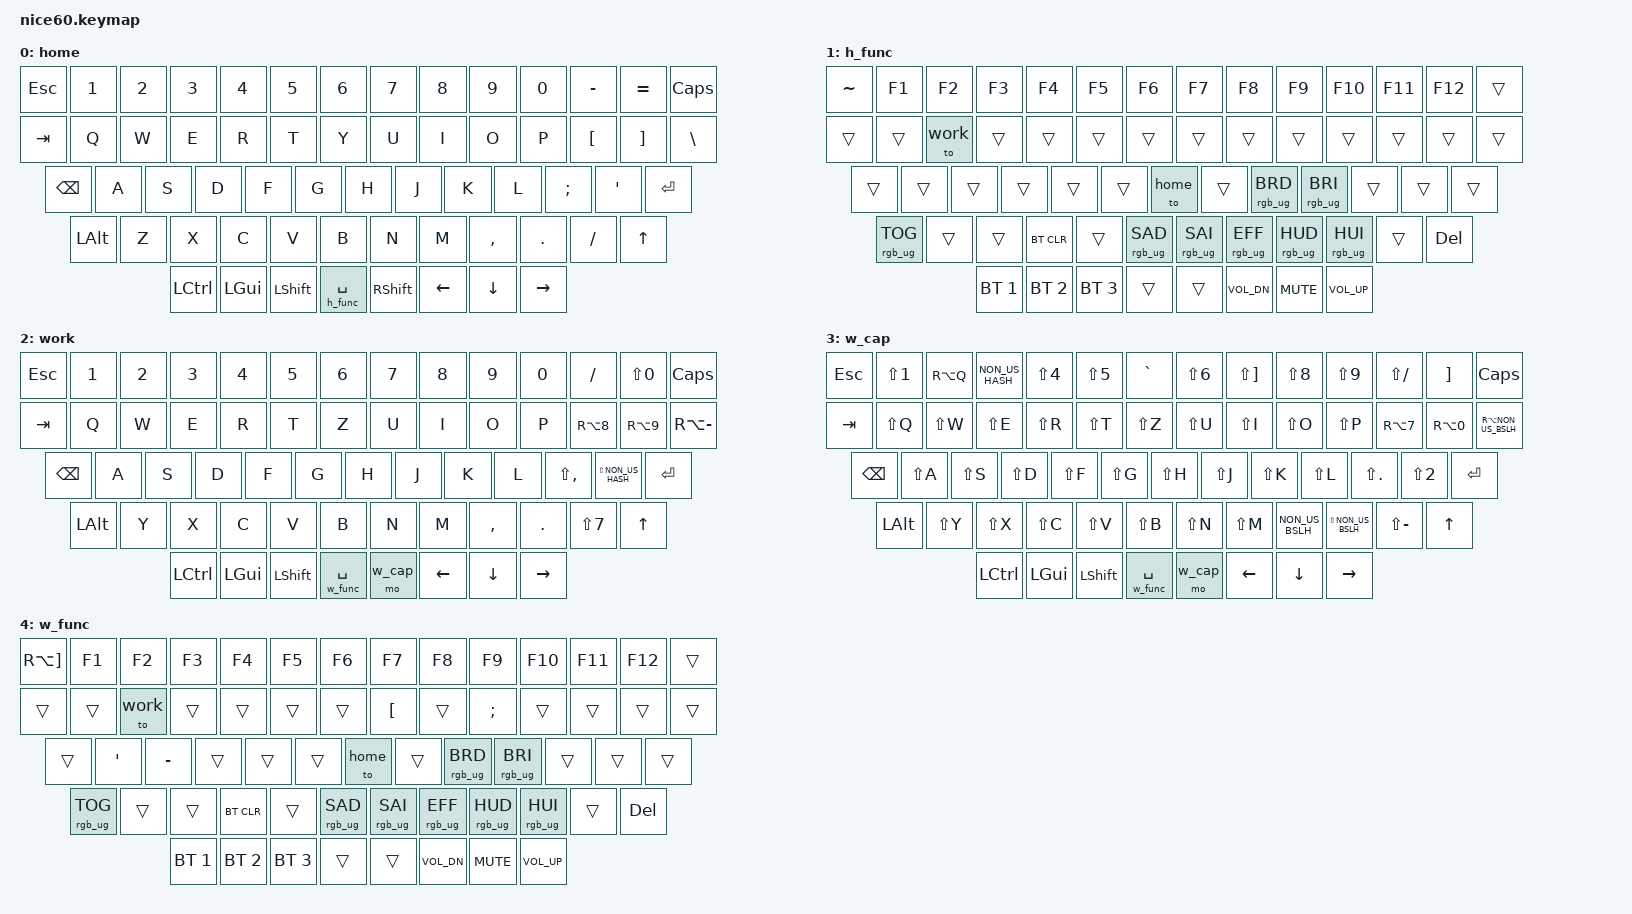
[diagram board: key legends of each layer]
/*
 * Copyright (c) 2021 Nick Winans
 *
 * SPDX-License-Identifier: MIT
 */

#include <behaviors.dtsi>
#include <dt-bindings/zmk/keys.h>
#include <dt-bindings/zmk/rgb.h>
#include <dt-bindings/zmk/bt.h>

/ {
	keymap {
		compatible = "zmk,keymap";
		#define home 0
		#define h_func 1
		#define work 2
		#define w_cap 3
		#define w_func 4
		
		home {
// home and h_func is used at home ipad
// ------------------------------------------------------------------------------------------
// | ESC |  1  |  2  |  3  |  4  |  5  |  6  |  7  |  8  |  9  |  0  |  -  |  =  |   CAPS   |
// | TAB  |  Q  |  W  |  E  |  R  |  T  |  Y  |  U  |  I  |  O  |  P |   [   |   ]   |  "|" |
// | BKSP  |  A  |  S  |  D  |  F  |  G  |  H  |  J  |  K  |  L  |  ;  |  '  |     ENTER    |
// |    ALT  |  Z  |  X  |  C  |  V  |   B   |  N  |  M  |  ,   |  .   |  /   |     UP    |
// |  CTRL  |  CMD  |  SHIFT  |         LT(h_func)SPACE      |   SHIFT |  L  |   down   |  R   |
// ------------------------------------------------------------------------------------------
			bindings = <
	&kp ESC  &kp N1 &kp N2 &kp N3 &kp N4 &kp N5 &kp N6 &kp N7 &kp N8 &kp N9 &kp N0 &kp MINUS &kp EQUAL  &kp CLCK
	&kp TAB  &kp Q  &kp W  &kp E  &kp R  &kp T  &kp Y  &kp U  &kp I  &kp O  &kp P  &kp LBKT  &kp RBKT  &kp BSLH
	&kp BSPC  &kp A  &kp S  &kp D  &kp F  &kp G  &kp H  &kp J  &kp K  &kp L  &kp SEMI &kp SQT           &kp RET
	&kp LALT   &kp Z  &kp X  &kp C  &kp V  &kp B  &kp N  &kp M  &kp COMMA &kp DOT &kp FSLH      &kp UP
	&kp LCTRL  &kp LGUI &kp LSHFT          &lt h_func SPACE         &kp RSHFT  &kp LEFT &kp DOWN  &kp RIGHT
			>;
		};


		h_func {
// ------------------------------------------------------------------------------------------------
// |  ~     | F1  | F2  | F3  | F4  | F5  | F6  | F7  | F8  | F9  | F10  | F11 | F12  |       |
// |       |     |TO work |    |     |      |     |    |     |     |     |      |     |       |
// |         |    |     |      |      |      | TO home |     | BRID  |  BRIUP |    |     |    |
// | TOG RGB|     |     | BT CLR |     | SATDN | SATUP | EFF  | HUEDN | HUEUP |     |   DEL   |
// |   BT 1  |  BT 2 | BT 3 |                                  |    | Vol DOWN | Mute | Vol Up |
// ------------------------------------------------------------------------------------------------
			bindings = <
	&kp TILDE  &kp F1  &kp F2  &kp F3  &kp F4  &kp F5   &kp F6   &kp F7    &kp F8   &kp F9   &kp F10  &kp F11 &kp F12  &trans
	&trans  &trans    &to work   &trans  &trans  &trans &trans  &trans  &trans   &trans   &trans   &trans  &trans          &trans 
	&trans  &trans  &trans  &trans  &trans &trans  &to home  &trans  &rgb_ug RGB_BRD   &rgb_ug RGB_BRI   &trans   &trans    &trans
	&rgb_ug RGB_TOG  &trans  &trans  &bt BT_CLR  &trans  &rgb_ug RGB_SAD  &rgb_ug RGB_SAI  &rgb_ug RGB_EFF  &rgb_ug RGB_HUD  &rgb_ug RGB_HUI &trans  &kp DEL
	&bt BT_SEL 1  &bt BT_SEL 2   &bt BT_SEL 3    &trans    &trans      &kp C_VOL_DN      &kp C_MUTE         &kp C_VOL_UP
			>;
		};


		work {
// work is for german layout 
// ------------------------------------------------------------------------------------------
// | ESC |  1  |  2  |  3  |  4  |  5  |  6  |  7  |  8  |  9  |  0  |  -  |  =  |   CAPS   |
// | TAB  |  Q  |  W  |  E  |  R  |  T  |  Y  |  U  |  I  |  O  |  P |   [   |   ]   |   \  |
// | BKSP  |  A  |  S  |  D  |  F  |  G  |  H  |  J  |  K  |  L  |  ;  |  '  |     ENTER    |
// |     ALT  |  Z  |  X  |  C  |  V  |   B   |  N  |  M  |   ,  |   .  |   /   |    UP     |
// |  CTL  |  WIN  |  LSHIFT  |     LT w_func SPACE     | MO (w_cap) |  L  |   down  |  R   |
// ------------------------------------------------------------------------------------------
			bindings = <
	&kp ESC  &kp N1 &kp N2 &kp N3 &kp N4 &kp N5 &kp N6 &kp N7 &kp N8 &kp N9 &kp N0 &kp FSLH &kp LS(N0) &kp CLCK
	&kp TAB  &kp Q  &kp W  &kp E  &kp R  &kp T  &kp Z  &kp U  &kp I  &kp O  &kp P  &kp RA(N8)  &kp RA(N9)  &kp RA(MINUS)
	&kp BSPC  &kp A  &kp S  &kp D  &kp F  &kp G  &kp H  &kp J  &kp K  &kp L  &kp LS(COMMA) &kp LS(NON_US_HASH)           &kp RET
	&kp LALT   &kp Y  &kp X  &kp C  &kp V  &kp B  &kp N  &kp M  &kp COMMA &kp DOT &kp LS(N7)     &kp UP
	&kp LCTRL &kp LGUI &kp LSHFT           &lt w_func SPACE         &mo w_cap  &kp LEFT &kp DOWN  &kp RIGHT
			>;
		};


		w_cap {
// work is for german layout 
// ------------------------------------------------------------------------------------------
// | ESC |  !  |  @  |  #  |  $  |  %  |  ^  |  &  |  *  |  (  |  )  |  _  |  +  |   CAPS   |
// | TAB  |  Q  |  W  |  E  |  R  |  T  |  Y  |  U  |  I  |  O  |  P |   {   |   }   |  "|" |
// | BKSP  |  A  |  S  |  D  |  F  |  G  |  H  |  J  |  K  |  L  |  :  |  "  |     ENTER    |
// |     ALT  |  Z  |  X  |  C  |  V  |   B   |  N  |  M  |   <  |   >  |   ?   |    UP     |
// |  CTL  |  WIN  |  LSHIFT  |     LT w_func SPACE     | MO (w_cap) |  L  |   down  |  R   |
// ------------------------------------------------------------------------------------------
			bindings = <
	&kp ESC  &kp LS(N1) &kp RA(Q) &kp NON_US_HASH &kp LS(N4) &kp LS(N5) &kp GRAVE &kp LS(N6) &kp LS(RBKT) &kp LS(N8) &kp LS(N9) &kp LS(FSLH) &kp RBKT &kp CLCK
	&kp TAB  &kp LS(Q)  &kp LS(W)  &kp LS(E)  &kp LS(R)  &kp LS(T)  &kp LS(Z)  &kp LS(U)  &kp LS(I)  &kp LS(O)  &kp LS(P)  &kp RA(N7)  &kp RA(N0)  &kp RA(NON_US_BSLH)
	&kp BSPC  &kp LS(A)  &kp LS(S)  &kp LS(D)  &kp LS(F)  &kp LS(G)  &kp LS(H)  &kp LS(J)  &kp LS(K)  &kp LS(L)  &kp LS(DOT) &kp LS(N2)       &kp RET
	&kp LALT   &kp LS(Y)  &kp LS(X)  &kp LS(C)  &kp LS(V)  &kp LS(B)  &kp LS(N)  &kp LS(M)  &kp NON_US_BSLH  &kp LS(NON_US_BSLH)  &kp LS(MINUS)     &kp UP
	&kp LCTRL &kp LGUI &kp LSHFT           &lt w_func SPACE         &mo w_cap  &kp LEFT &kp DOWN  &kp RIGHT
			>;
		};


		w_func {
// ------------------------------------------------------------------------------------------------
// |  ~     | F1  | F2  | F3  | F4  | F5  | F6  | F7  | F8  | F9  | F10  | F11 | F12  |       |
// |       |     |TO work |    |     |      |     | Ü  |     |  Ö  |     |      |     |       |
// |         | Ä  |  ß  |      |      |      | TO home |     | BRID  |  BRIUP |    |     |    |
// | TOG RGB|     |     | BT CLR |     | SATDN | SATUP | EFF  | HUEDN | HUEUP |     |   DEL   |
// |   BT 1  |  BT 2 | BT 3 |                                  |     | Vol DOWN | Mute | Vol Up |
// ------------------------------------------------------------------------------------------------
			bindings = <
	&kp RA(RBKT)  &kp F1  &kp F2  &kp F3  &kp F4  &kp F5   &kp F6   &kp F7    &kp F8   &kp F9   &kp F10  &kp F11 &kp F12  &trans
	&trans  &trans  &to work   &trans  &trans  &trans &trans  &kp LBKT  &trans   &kp SEMI  &trans   &trans  &trans          &trans 
	&trans  &kp SQT  &kp MINUS  &trans  &trans &trans  &to home  &trans  &rgb_ug RGB_BRD   &rgb_ug RGB_BRI   &trans   &trans    &trans
	&rgb_ug RGB_TOG  &trans  &trans  &bt BT_CLR  &trans  &rgb_ug RGB_SAD  &rgb_ug RGB_SAI  &rgb_ug RGB_EFF  &rgb_ug RGB_HUD  &rgb_ug RGB_HUI &trans  &kp DEL
	&bt BT_SEL 1  &bt BT_SEL 2   &bt BT_SEL 3    &trans    &trans      &kp C_VOL_DN      &kp C_MUTE         &kp C_VOL_UP
			>;
		};
	};
};
